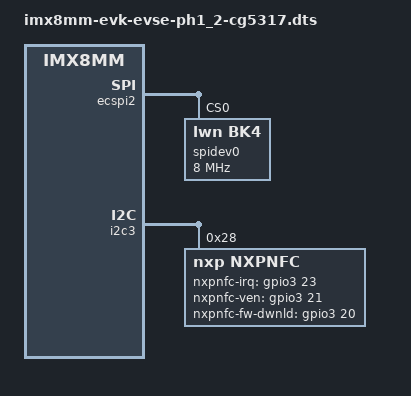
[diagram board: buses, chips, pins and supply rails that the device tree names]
// SPDX-License-Identifier: (GPL-2.0+ OR MIT)
/*
 * Copyright 2023 NXP
 */

/dts-v1/;

#include "imx8mm-evk-evse.dts"

/delete-node/ &nxpnfc;

&ecspi2 {
	pinctrl-2 = <&pinctrl_cg5317>;	
	spidev0: spi@0 {
		compatible = "lwn,bk4";
		reg = <0x0>;
		spi-cpha;
		spi-max-frequency = <8000000>;
		spi-cpol;
	};
};

&i2c3 {
	nxpnfc: nxpnfc@28 {
		compatible = "nxp,nxpnfc";
		reg = <0x28>;
		nxp,nxpnfc-irq = <&gpio3 23 GPIO_ACTIVE_HIGH>;
		nxp,nxpnfc-ven = <&gpio3 21 GPIO_ACTIVE_HIGH>;
		nxp,nxpnfc-fw-dwnld = <&gpio3 20 GPIO_ACTIVE_HIGH>;
	};
};

&iomuxc {
	pinctrl_cg5317: cg5317grp {
                fsl,pins = <
                        MX8MM_IOMUXC_ECSPI1_SS0_GPIO5_IO9           0x100
                        MX8MM_IOMUXC_ECSPI1_MISO_GPIO5_IO8          0x100
                >;
        };

};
